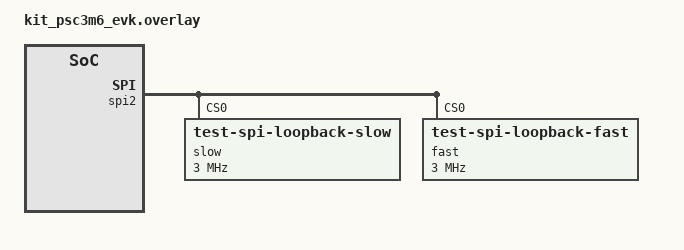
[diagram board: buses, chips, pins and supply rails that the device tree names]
/*
 * SPDX-FileCopyrightText: Copyright (c) 2026 Infineon Technologies AG,
 * SPDX-FileCopyrightText: or an affiliate of Infineon Technologies AG. All rights reserved.
 *
 * SPDX-License-Identifier: Apache-2.0
 */

&spi2 {
	status = "okay";

	slow@0 {
		compatible = "test-spi-loopback-slow";
		reg = <0>;
		spi-max-frequency = <3000000>;
	};

	fast@0 {
		compatible = "test-spi-loopback-fast";
		reg = <0>;
		spi-max-frequency = <3000000>;
	};
};
